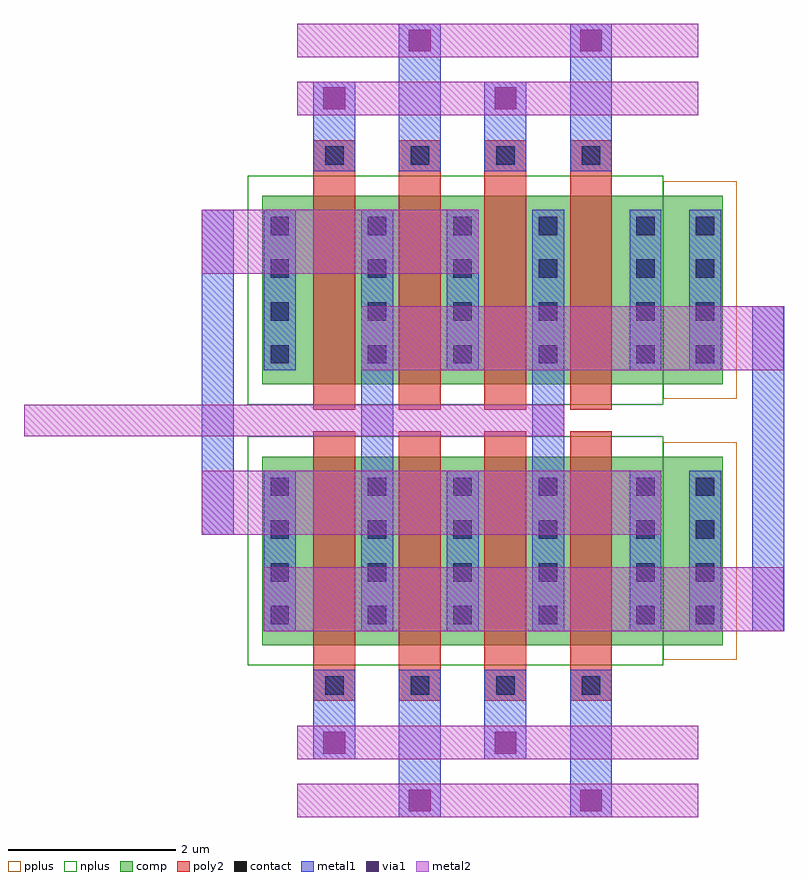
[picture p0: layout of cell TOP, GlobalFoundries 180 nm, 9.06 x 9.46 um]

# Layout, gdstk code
import gdstk
lib = gdstk.Library(unit=1e-6, precision=1e-09)
def R(c, l, rs):  # rectangles x0, y0, x1, y1
    for r in rs: c.add(gdstk.rectangle(r[:2], r[2:], *l))
def A(c, l, x, y, w, h, nx, ny, dx, dy):  # array of equal rectangles
    R(c, l, [(x+i*dx, y+j*dy, x+i*dx+w, y+j*dy+h) for i in range(nx) for j in range(ny)])
comp = (22, 0)
poly2 = (30, 0)
pplus = (31, 0)
nplus = (32, 0)
contact = (33, 0)
metal1 = (34, 0)
via1 = (35, 0)
metal2 = (36, 0)

nfet = lib.new_cell('nfet')
R(nfet, comp, [(-0.42,0,0,2.25), (0,0,3.94,2.25), (3.94,0,4.36,2.25), (4.36,0,5.07,2.25)])
A(nfet, poly2, 0.19, -0.66, 0.5, 0.36, 4, 1, 1.02, 0)
A(nfet, poly2, 0.19, -0.3, 0.5, 2.85, 4, 1, 1.02, 0)
R(nfet, pplus, [(4.36,-0.17,5.24,2.42)])
R(nfet, nplus, [(-0.59,-0.24,4.36,2.49)])
A(nfet, contact, 0.33, -0.59, 0.22, 0.22, 4, 1, 1.02, 0)
A(nfet, contact, -0.32, 0.25, 0.22, 0.22, 1, 4, 0, 0.51)
A(nfet, contact, 0.84, 0.25, 0.22, 0.22, 3, 4, 1.02, 0.51)
A(nfet, contact, 4.04, 0.25, 0.22, 0.22, 1, 4, 0, 0.51)
A(nfet, contact, 4.75, 0.25, 0.22, 0.22, 1, 4, 0, 0.51)
A(nfet, metal1, 0.25, -0.671, 0.38, 0.382, 4, 1, 1.02, 0)
A(nfet, metal1, 0.76, 0.17, 0.38, 1.91, 3, 1, 1.02, 0)
R(nfet, metal1, [(1.21,-2.051,1.71,-0.289), (3.25,-2.051,3.75,-0.289), (0.19,-1.361,0.69,-0.289), (2.23,-1.361,2.73,-0.289), (-0.4,0.17,-0.02,2.08), (3.96,0.17,4.34,2.08), (4.67,0.17,5.05,2.08)])
R(nfet, via1, [(1.33,-1.981,1.59,-1.721), (3.37,-1.981,3.63,-1.721), (0.31,-1.291,0.57,-1.031), (2.35,-1.291,2.61,-1.031)])
R(nfet, metal2, [(0,-2.051,4.78,-1.651), (0,-1.361,4.78,-0.961)])

nfet_3 = lib.new_cell('nfet$3')
R(nfet_3, comp, [(-0.42,0,0,2.25), (0,0,3.94,2.25), (3.94,0,4.36,2.25), (4.36,0,5.07,2.25)])
A(nfet_3, poly2, 0.19, -0.3, 0.5, 2.85, 4, 1, 1.02, 0)
A(nfet_3, poly2, 0.19, 2.55, 0.5, 0.36, 4, 1, 1.02, 0)
R(nfet_3, pplus, [(4.36,-0.17,5.24,2.42)])
R(nfet_3, nplus, [(-0.59,-0.24,4.36,2.49)])
A(nfet_3, contact, -0.32, 0.25, 0.22, 0.22, 1, 4, 0, 0.51)
A(nfet_3, contact, 0.84, 0.25, 0.22, 0.22, 3, 4, 1.02, 0.51)
A(nfet_3, contact, 4.04, 0.25, 0.22, 0.22, 1, 4, 0, 0.51)
A(nfet_3, contact, 4.75, 0.25, 0.22, 0.22, 1, 4, 0, 0.51)
A(nfet_3, contact, 0.33, 2.62, 0.22, 0.22, 4, 1, 1.02, 0)
A(nfet_3, metal1, 0.76, 0.17, 0.38, 1.91, 3, 1, 1.02, 0)
A(nfet_3, metal1, 0.25, 2.539, 0.38, 0.382, 4, 1, 1.02, 0)
R(nfet_3, metal1, [(-0.4,0.17,-0.02,2.08), (3.96,0.17,4.34,2.08), (4.67,0.17,5.05,2.08), (0.19,2.539,0.69,3.611), (1.21,2.539,1.71,4.301), (2.23,2.539,2.73,3.611), (3.25,2.539,3.75,4.301)])
R(nfet_3, via1, [(0.31,3.281,0.57,3.541), (2.35,3.281,2.61,3.541), (1.33,3.971,1.59,4.231), (3.37,3.971,3.63,4.231)])
R(nfet_3, metal2, [(0,3.211,4.78,3.611), (0,3.901,4.78,4.301)])

top = lib.new_cell('TOP')
top.add(gdstk.FlexPath([(1.14,-7.692),(1.14,-6.492)], 0.38, ends="flush", simple_path=True, layer=34, datatype=0))  # metal1
top.add(gdstk.FlexPath([(3.18,-7.692),(3.18,-6.492)], 0.38, ends="flush", simple_path=True, layer=34, datatype=0))  # metal1
top.add(gdstk.FlexPath([(-0.76,-4.582),(-0.76,-8.452)], 0.38, ends="flush", simple_path=True, layer=34, datatype=0))  # metal1
top.add(gdstk.FlexPath([(5.801,-5.733),(5.801,-9.603)], 0.38, ends="flush", simple_path=True, layer=34, datatype=0))  # metal1
top.add(gdstk.FlexPath([(-3.069,-7.092),(3.37,-7.092)], 0.38, ends="flush", simple_path=True, layer=36, datatype=0))  # metal2
top.add(gdstk.FlexPath([(-0.95,-4.962),(2.35,-4.962)], 0.76, ends="flush", simple_path=True, layer=36, datatype=0))  # metal2
top.add(gdstk.FlexPath([(-0.95,-8.072),(4.53,-8.072)], 0.76, ends="flush", simple_path=True, layer=36, datatype=0))  # metal2
top.add(gdstk.FlexPath([(0.95,-6.112),(5.99,-6.112)], 0.76, ends="flush", simple_path=True, layer=36, datatype=0))  # metal2
top.add(gdstk.FlexPath([(-0.21,-9.222),(5.99,-9.222)], 0.76, ends="flush", simple_path=True, layer=36, datatype=0))  # metal2
top.add(gdstk.Reference(nfet, (0.19,-9.772)))
top.add(gdstk.Reference(nfet_3, (0.19,-6.662)))

lib.write_gds('TOP.gds')
